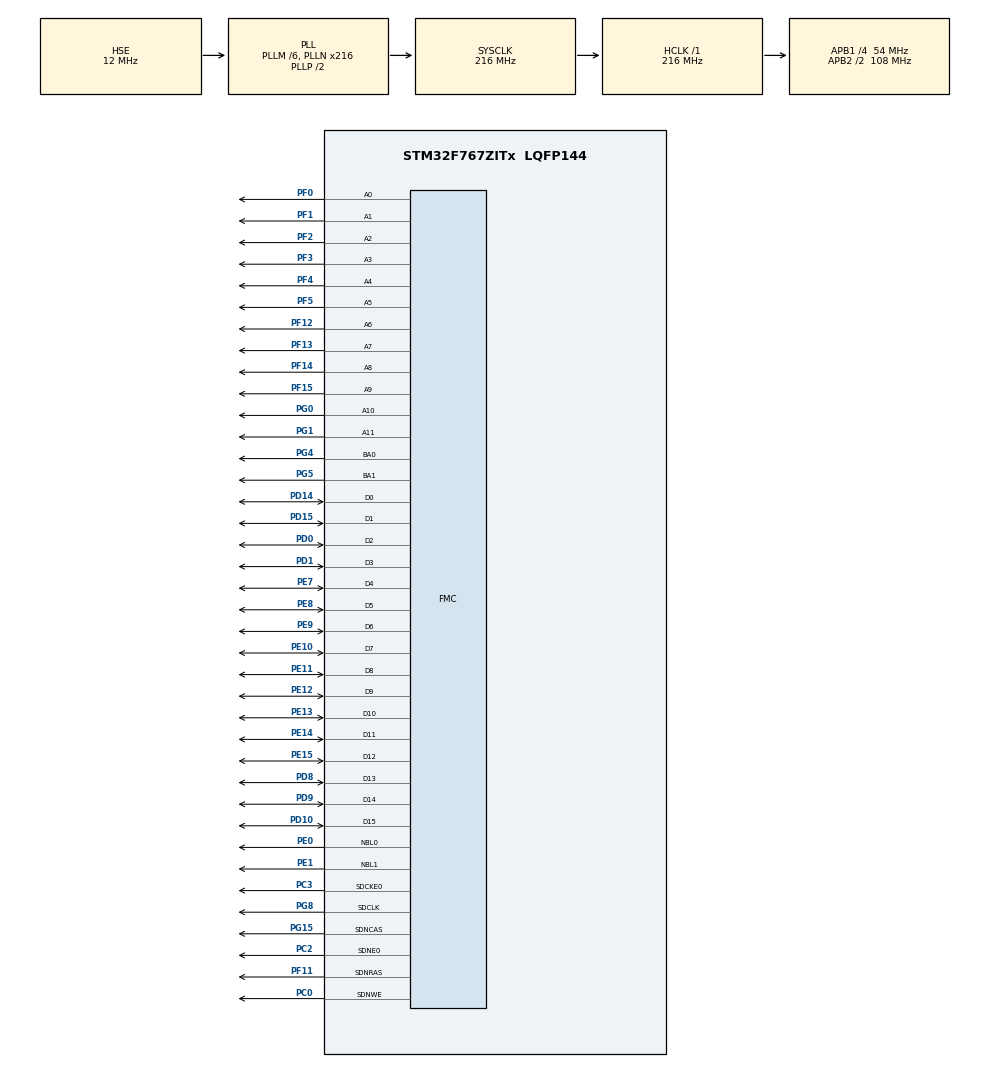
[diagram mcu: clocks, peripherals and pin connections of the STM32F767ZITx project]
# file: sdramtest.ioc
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FMC.CASLatency1=FMC_SDRAM_CAS_LATENCY_3
FMC.ColumnBitsNumber1=FMC_SDRAM_COLUMN_BITS_NUM_9
FMC.SDClockPeriod1=FMC_SDRAM_CLOCK_PERIOD_3
FMC.SDClockPeriod2=FMC_SDRAM_CLOCK_PERIOD_3
Mcu.Family=STM32F7
Mcu.Name=STM32F767ZITx
Mcu.Package=LQFP144
NVIC.PriorityGroup=NVIC_PRIORITYGROUP_4
PA13.Mode=Serial_Wire
PA13.Signal=SYS_JTMS-SWDIO
PA14.Mode=Serial_Wire
PA14.Signal=SYS_JTCK-SWCLK
PC0.Signal=FMC_SDNWE
PC14/OSC32_IN.Mode=LSE-External-Oscillator
PC14/OSC32_IN.Signal=RCC_OSC32_IN
PC15/OSC32_OUT.Mode=LSE-External-Oscillator
PC15/OSC32_OUT.Signal=RCC_OSC32_OUT
PC2.Mode=SdramChipSelect1_1
PC2.Signal=FMC_SDNE0
PC3.Mode=SdramChipSelect1_1
PC3.Signal=FMC_SDCKE0
PD0.Signal=FMC_D2_DA2
PD1.Signal=FMC_D3_DA3
PD10.Signal=FMC_D15_DA15
PD14.Signal=FMC_D0_DA0
PD15.Signal=FMC_D1_DA1
PD8.Signal=FMC_D13_DA13
PD9.Signal=FMC_D14_DA14
PE0.Signal=FMC_NBL0
PE1.Signal=FMC_NBL1
PE10.Signal=FMC_D7_DA7
PE11.Signal=FMC_D8_DA8
PE12.Signal=FMC_D9_DA9
PE13.Signal=FMC_D10_DA10
PE14.Signal=FMC_D11_DA11
PE15.Signal=FMC_D12_DA12
PE7.Signal=FMC_D4_DA4
PE8.Signal=FMC_D5_DA5
PE9.Signal=FMC_D6_DA6
PF0.Signal=FMC_A0
PF1.Signal=FMC_A1
PF11.Signal=FMC_SDNRAS
PF12.Signal=FMC_A6
PF13.Signal=FMC_A7
PF14.Signal=FMC_A8
PF15.Signal=FMC_A9
PF2.Signal=FMC_A2
PF3.Signal=FMC_A3
PF4.Signal=FMC_A4
PF5.Signal=FMC_A5
PG0.Signal=FMC_A10
PG1.Signal=FMC_A11
PG15.Signal=FMC_SDNCAS
PG4.Signal=FMC_A14_BA0
PG5.Signal=FMC_A15_BA1
PG8.Signal=FMC_SDCLK
PH0/OSC_IN.Mode=HSE-External-Oscillator
PH0/OSC_IN.Signal=RCC_OSC_IN
PH1/OSC_OUT.Mode=HSE-External-Oscillator
PH1/OSC_OUT.Signal=RCC_OSC_OUT
ProjectManager.HeapSize=0x200
ProjectManager.StackSize=0x400
ProjectManager.TargetToolchain=STM32CubeIDE
RCC.AHBFreq_Value=216000000
RCC.APB1CLKDivider=RCC_HCLK_DIV4
RCC.APB1Freq_Value=54000000
RCC.APB1TimFreq_Value=108000000
RCC.APB2CLKDivider=RCC_HCLK_DIV2
RCC.APB2Freq_Value=108000000
RCC.APB2TimFreq_Value=216000000
RCC.CortexFreq_Value=216000000
RCC.HCLKFreq_Value=216000000
RCC.HSE_VALUE=12000000
RCC.HSI_VALUE=16000000
RCC.PLLM=6
RCC.PLLN=216
RCC.PLLSourceVirtual=RCC_PLLSOURCE_HSE
RCC.SYSCLKFreq_VALUE=216000000
RCC.SYSCLKSource=RCC_SYSCLKSOURCE_PLLCLK
RCC.USBFreq_Value=216000000
RCC.VCOOutputFreq_Value=432000000
SH.FMC_A0.0=FMC_A0,12b-sda1
SH.FMC_A1.0=FMC_A1,12b-sda1
SH.FMC_A10.0=FMC_A10,12b-sda1
SH.FMC_A11.0=FMC_A11,12b-sda1
SH.FMC_A14_BA0.0=FMC_BA0,FourSdramBanks1
SH.FMC_A15_BA1.0=FMC_BA1,FourSdramBanks1
SH.FMC_A2.0=FMC_A2,12b-sda1
SH.FMC_A3.0=FMC_A3,12b-sda1
SH.FMC_A4.0=FMC_A4,12b-sda1
SH.FMC_A5.0=FMC_A5,12b-sda1
SH.FMC_A6.0=FMC_A6,12b-sda1
SH.FMC_A7.0=FMC_A7,12b-sda1
SH.FMC_A8.0=FMC_A8,12b-sda1
SH.FMC_A9.0=FMC_A9,12b-sda1
SH.FMC_D0_DA0.0=FMC_D0,sd-16b-d1
SH.FMC_D10_DA10.0=FMC_D10,sd-16b-d1
SH.FMC_D11_DA11.0=FMC_D11,sd-16b-d1
SH.FMC_D12_DA12.0=FMC_D12,sd-16b-d1
SH.FMC_D13_DA13.0=FMC_D13,sd-16b-d1
SH.FMC_D14_DA14.0=FMC_D14,sd-16b-d1
SH.FMC_D15_DA15.0=FMC_D15,sd-16b-d1
SH.FMC_D1_DA1.0=FMC_D1,sd-16b-d1
SH.FMC_D2_DA2.0=FMC_D2,sd-16b-d1
SH.FMC_D3_DA3.0=FMC_D3,sd-16b-d1
SH.FMC_D4_DA4.0=FMC_D4,sd-16b-d1
SH.FMC_D5_DA5.0=FMC_D5,sd-16b-d1
SH.FMC_D6_DA6.0=FMC_D6,sd-16b-d1
SH.FMC_D7_DA7.0=FMC_D7,sd-16b-d1
SH.FMC_D8_DA8.0=FMC_D8,sd-16b-d1
SH.FMC_D9_DA9.0=FMC_D9,sd-16b-d1
SH.FMC_NBL0.0=FMC_NBL0,Sd2ByteEnable1
SH.FMC_NBL1.0=FMC_NBL1,Sd2ByteEnable1
SH.FMC_SDCLK.0=FMC_SDCLK,12b-sda1
SH.FMC_SDNCAS.0=FMC_SDNCAS,12b-sda1
SH.FMC_SDNRAS.0=FMC_SDNRAS,12b-sda1
SH.FMC_SDNWE.0=FMC_SDNWE,12b-sda1
board=custom

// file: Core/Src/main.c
/* USER CODE BEGIN Header */
/**
  ******************************************************************************
  * @file           : main.c
  * @brief          : Main program body
  ******************************************************************************
  * @attention
  *
  * Copyright (c) 2026 STMicroelectronics.
  * All rights reserved.
  *
  * This software is licensed under terms that can be found in the LICENSE file
  * in the root directory of this software component.
  * If no LICENSE file comes with this software, it is provided AS-IS.
  *
  ******************************************************************************
  */
/* USER CODE END Header */
#include "main.h"

/* USER CODE BEGIN PD */
#define SDRAM_BANK_ADDR                 ((uint32_t)0xC0000000)
#define SDRAM_SIZE                      ((uint32_t)0x1000000)  // 16 MB

// Parameters of MT48LC8M16A2
#define SDRAM_MODEREG_BURST_LENGTH_1             ((uint16_t)0x0000)
#define SDRAM_MODEREG_BURST_LENGTH_2             ((uint16_t)0x0001)
#define SDRAM_MODEREG_BURST_LENGTH_4             ((uint16_t)0x0002)
#define SDRAM_MODEREG_BURST_LENGTH_8             ((uint16_t)0x0003)
#define SDRAM_MODEREG_BURST_TYPE_SEQUENTIAL      ((uint16_t)0x0000)
#define SDRAM_MODEREG_BURST_TYPE_INTERLEAVED     ((uint16_t)0x0008)
#define SDRAM_MODEREG_CAS_LATENCY_2              ((uint16_t)0x0020)
#define SDRAM_MODEREG_CAS_LATENCY_3              ((uint16_t)0x0030)
#define SDRAM_MODEREG_OPERATING_MODE_STANDARD    ((uint16_t)0x0000)
#define SDRAM_MODEREG_WRITEBURST_MODE_PROGRAMMED ((uint16_t)0x0000)
#define SDRAM_MODEREG_WRITEBURST_MODE_SINGLE     ((uint16_t)0x0200)

#define SDRAM_TIMEOUT                   ((uint32_t)0x1000)
/* USER CODE END PD */

SDRAM_HandleTypeDef hsdram1;

void SystemClock_Config(void);
static void MX_GPIO_Init(void);
static void MX_FMC_Init(void);
static void MPU_Config(void);
static HAL_StatusTypeDef SDRAM_Initialization_Sequence(SDRAM_HandleTypeDef *hsdram, uint32_t refresh_count);

int main(void)
{

  /* MCU Configuration--------------------------------------------------------*/

  /* Reset of all peripherals, Initializes the Flash interface and the Systick. */
  HAL_Init();

  /* Configure the system clock */
  SystemClock_Config();

  /* USER CODE BEGIN SysInit */
  //MPU_Config();
  /* USER CODE END SysInit */

  /* Initialize all configured peripherals */
  MX_GPIO_Init();
  MX_FMC_Init();
  /* USER CODE BEGIN 2 */
  uint16_t *sdram = (uint16_t*)SDRAM_BANK_ADDR;
  sdram[0] = 0x90AB/*CDEF*/;
  uint32_t u = 0;
  /* USER CODE END 2 */

  /* Infinite loop */
  while (1)
  {

    /* USER CODE BEGIN 3 */
	  HAL_Delay(1000);
      sdram[0x11] = 0xBABE;
      sdram[0x09] = 0xC0FE;
      sdram[0x0A] = 0xBEEF;

      sdram[2] = 0xAAAA;
      sdram[3] = 0xBBBB;
      sdram[4] = 0xCCCC;
      HAL_Delay(1000);
      sdram[0x10] = 0xF00D;
      HAL_Delay(1000);
      sdram[0x10] = 0xDEAD;
      sdram[0x1000] = 0xCAFE;
      sdram[0x80000] = 0xFACE;
      sdram[0x81000] = 0x404E;
  }
  /* USER CODE END 3 */
}

void SystemClock_Config(void)
{
  RCC_OscInitTypeDef RCC_OscInitStruct = {0};
  RCC_ClkInitTypeDef RCC_ClkInitStruct = {0};

  /** Configure LSE Drive Capability
  */
  HAL_PWR_EnableBkUpAccess();

  /** Configure the main internal regulator output voltage
  */
  __HAL_RCC_PWR_CLK_ENABLE();
  __HAL_PWR_VOLTAGESCALING_CONFIG(PWR_REGULATOR_VOLTAGE_SCALE1);

  /** Initializes the RCC Oscillators according to the specified parameters
  * in the RCC_OscInitTypeDef structure.
  */
  RCC_OscInitStruct.OscillatorType = RCC_OSCILLATORTYPE_HSE;
  RCC_OscInitStruct.HSEState = RCC_HSE_ON;
  RCC_OscInitStruct.PLL.PLLState = RCC_PLL_ON;
  RCC_OscInitStruct.PLL.PLLSource = RCC_PLLSOURCE_HSE;
  RCC_OscInitStruct.PLL.PLLM = 6;
  RCC_OscInitStruct.PLL.PLLN = 216;
  RCC_OscInitStruct.PLL.PLLP = RCC_PLLP_DIV2;
  RCC_OscInitStruct.PLL.PLLQ = 2;
  RCC_OscInitStruct.PLL.PLLR = 2;
  if (HAL_RCC_OscConfig(&RCC_OscInitStruct) != HAL_OK)
  {
    Error_Handler();
  }

  /** Activate the Over-Drive mode
  */
  if (HAL_PWREx_EnableOverDrive() != HAL_OK)
  {
    Error_Handler();
  }

  /** Initializes the CPU, AHB and APB buses clocks
  */
  RCC_ClkInitStruct.ClockType = RCC_CLOCKTYPE_HCLK|RCC_CLOCKTYPE_SYSCLK
                              |RCC_CLOCKTYPE_PCLK1|RCC_CLOCKTYPE_PCLK2;
  RCC_ClkInitStruct.SYSCLKSource = RCC_SYSCLKSOURCE_PLLCLK;
  RCC_ClkInitStruct.AHBCLKDivider = RCC_SYSCLK_DIV1;
  RCC_ClkInitStruct.APB1CLKDivider = RCC_HCLK_DIV4;
  RCC_ClkInitStruct.APB2CLKDivider = RCC_HCLK_DIV2;

  if (HAL_RCC_ClockConfig(&RCC_ClkInitStruct, FLASH_LATENCY_7) != HAL_OK)
  {
    Error_Handler();
  }
}

/* FMC initialization function */
static void MX_FMC_Init(void)
{

  FMC_SDRAM_TimingTypeDef SdramTiming = {0};

  /** Perform the SDRAM1 memory initialization sequence
  */
  hsdram1.Instance = FMC_SDRAM_DEVICE;
  /* hsdram1.Init */
  hsdram1.Init.SDBank = FMC_SDRAM_BANK1;
  hsdram1.Init.ColumnBitsNumber = FMC_SDRAM_COLUMN_BITS_NUM_9;
  hsdram1.Init.RowBitsNumber = FMC_SDRAM_ROW_BITS_NUM_12;
  hsdram1.Init.MemoryDataWidth = FMC_SDRAM_MEM_BUS_WIDTH_16;
  hsdram1.Init.InternalBankNumber = FMC_SDRAM_INTERN_BANKS_NUM_4;
  hsdram1.Init.CASLatency = FMC_SDRAM_CAS_LATENCY_3;
  hsdram1.Init.WriteProtection = FMC_SDRAM_WRITE_PROTECTION_DISABLE;
  hsdram1.Init.SDClockPeriod = FMC_SDRAM_CLOCK_PERIOD_3;
  hsdram1.Init.ReadBurst = FMC_SDRAM_RBURST_DISABLE;
  hsdram1.Init.ReadPipeDelay = FMC_SDRAM_RPIPE_DELAY_0;
  /* SdramTiming */
  SdramTiming.LoadToActiveDelay    = 2;    // tMRD
  SdramTiming.ExitSelfRefreshDelay = 5;    // tXSR
  SdramTiming.SelfRefreshTime      = 4;    // tRAS
  SdramTiming.RowCycleDelay        = 5;    // tRC
  SdramTiming.WriteRecoveryTime    = 2;    // tWR
  SdramTiming.RPDelay              = 2;    // tRP
  SdramTiming.RCDDelay             = 2;    // tRCD

  if (HAL_SDRAM_Init(&hsdram1, &SdramTiming) != HAL_OK)
  {
    Error_Handler( );
  }

  /* USER CODE BEGIN FMC_Init 2 */
  uint32_t refresh_count = 1105;

  HAL_StatusTypeDef status = SDRAM_Initialization_Sequence(&hsdram1, refresh_count);
  if(status != HAL_OK) {
      return status;
  }
  /* USER CODE END FMC_Init 2 */
}

static void MX_GPIO_Init(void)
{

  /* GPIO Ports Clock Enable */
  __HAL_RCC_GPIOC_CLK_ENABLE();
  __HAL_RCC_GPIOF_CLK_ENABLE();
  __HAL_RCC_GPIOH_CLK_ENABLE();
  __HAL_RCC_GPIOG_CLK_ENABLE();
  __HAL_RCC_GPIOE_CLK_ENABLE();
  __HAL_RCC_GPIOD_CLK_ENABLE();
  __HAL_RCC_GPIOA_CLK_ENABLE();

}

/* USER CODE BEGIN 4 */
static void MPU_Config(void)
{
    MPU_Region_InitTypeDef MPU_InitStruct;

    /* Disable the MPU */
    HAL_MPU_Disable();

    /* Configure the MPU as Strongly ordered for not defined regions */
    MPU_InitStruct.Enable = MPU_REGION_ENABLE;
    MPU_InitStruct.BaseAddress = 0x00;
    MPU_InitStruct.Size = MPU_REGION_SIZE_4GB;
    MPU_InitStruct.AccessPermission = MPU_REGION_NO_ACCESS;
    MPU_InitStruct.IsBufferable = MPU_ACCESS_NOT_BUFFERABLE;
    MPU_InitStruct.IsCacheable = MPU_ACCESS_NOT_CACHEABLE;
    MPU_InitStruct.IsShareable = MPU_ACCESS_SHAREABLE;
    MPU_InitStruct.Number = MPU_REGION_NUMBER0;
    MPU_InitStruct.TypeExtField = MPU_TEX_LEVEL0;
    MPU_InitStruct.SubRegionDisable = 0xC7; //0x87;
    MPU_InitStruct.DisableExec = MPU_INSTRUCTION_ACCESS_DISABLE;

    HAL_MPU_ConfigRegion(&MPU_InitStruct);

    /* Configure the MPU attributes as WB for SDRAM */
    MPU_InitStruct.Enable           = MPU_REGION_ENABLE;
    MPU_InitStruct.BaseAddress      = SDRAM_BANK_ADDR;      // 0xC0000000
    MPU_InitStruct.Size             = MPU_REGION_SIZE_16MB;
    MPU_InitStruct.AccessPermission = MPU_REGION_FULL_ACCESS;
    MPU_InitStruct.IsBufferable     = MPU_ACCESS_BUFFERABLE;
    MPU_InitStruct.IsCacheable      = MPU_ACCESS_NOT_CACHEABLE;
    MPU_InitStruct.IsShareable      = MPU_ACCESS_NOT_SHAREABLE;   // ← Strongly Ordered
    MPU_InitStruct.Number           = MPU_REGION_NUMBER1;
    MPU_InitStruct.TypeExtField     = MPU_TEX_LEVEL2;//MPU_TEX_LEVEL0;         // TEX=0, C=0, B=0, S=1 → Strongly Ordered
    MPU_InitStruct.SubRegionDisable = 0x00;
    MPU_InitStruct.DisableExec      = MPU_INSTRUCTION_ACCESS_DISABLE; // XN

    //MPU_InitStruct.IsBufferable = ((gotCfg & IsBufferable) >> BitPos(IsBufferable));
    //MPU_InitStruct.IsCacheable =  ((gotCfg & IsCacheable) >> BitPos(IsCacheable));
    //MPU_InitStruct.IsShareable =  ((gotCfg & IsShareable) >> BitPos(IsShareable));
    ////MPU_InitStruct.Number =  ((gotCfg & RegionNumber) >> BitPos(BIT(4)));
    ////MPU_InitStruct.TypeExtField =  (u8)((gotCfg & TexLevelX) >> BitPos((BIT(7))));
    //MPU_InitStruct.TypeExtField =  (u8)((gotCfg & TexLevelX) >> BitPos((BIT(4))));
    //MPU_InitStruct.DisableExec =  ((gotCfg & DisExec) >> BitPos(DisExec));

    HAL_MPU_ConfigRegion(&MPU_InitStruct);

    /* Configure the MPU attributes FMC control registers */
    MPU_InitStruct.Enable = MPU_REGION_ENABLE;
    MPU_InitStruct.BaseAddress = 0xA0000000;
    MPU_InitStruct.Size = MPU_REGION_SIZE_8KB;
    MPU_InitStruct.AccessPermission = MPU_REGION_FULL_ACCESS;
    MPU_InitStruct.IsBufferable = MPU_ACCESS_BUFFERABLE;
    MPU_InitStruct.IsCacheable = MPU_ACCESS_NOT_CACHEABLE;
    MPU_InitStruct.IsShareable = MPU_ACCESS_SHAREABLE;
    MPU_InitStruct.Number = MPU_REGION_NUMBER2;
    MPU_InitStruct.TypeExtField = MPU_TEX_LEVEL1;
    MPU_InitStruct.SubRegionDisable = 0x0;
    MPU_InitStruct.DisableExec = MPU_INSTRUCTION_ACCESS_DISABLE;

    HAL_MPU_ConfigRegion(&MPU_InitStruct);

    /* Enable the MPU */
    HAL_MPU_Enable(MPU_PRIVILEGED_DEFAULT);
}

static HAL_StatusTypeDef SDRAM_Initialization_Sequence(SDRAM_HandleTypeDef *hsdram, uint32_t refresh_count) {
    FMC_SDRAM_CommandTypeDef Command;
    HAL_StatusTypeDef status;

    // --- STEP 1: Clock Configuration Enable ---
    Command.CommandMode = FMC_SDRAM_CMD_CLK_ENABLE;
    Command.CommandTarget = FMC_SDRAM_CMD_TARGET_BANK1;
    Command.AutoRefreshNumber = 1;
    Command.ModeRegisterDefinition = 0;

    status = HAL_SDRAM_SendCommand(hsdram, &Command, SDRAM_TIMEOUT);
    if(status != HAL_OK) return status;

    HAL_Delay(1);

    // --- STEP 2: Precharge All ---
    Command.CommandMode = FMC_SDRAM_CMD_PALL;
    status = HAL_SDRAM_SendCommand(hsdram, &Command, SDRAM_TIMEOUT);
    if(status != HAL_OK) return status;

    // --- STEP 3: 8 cycles Auto Refresh ---
    Command.CommandMode = FMC_SDRAM_CMD_AUTOREFRESH_MODE;
    Command.AutoRefreshNumber = 8; // JEDEC requires minimum 8 cycles

    status = HAL_SDRAM_SendCommand(hsdram, &Command, SDRAM_TIMEOUT);
    if(status != HAL_OK) return status;

    // --- STEP 4: Load Mode Register ---
    Command.CommandMode = FMC_SDRAM_CMD_LOAD_MODE;
    Command.AutoRefreshNumber = 1;

    // Seetting Mode Register 100 MHz:
    // - Burst Length = 1
    // - Burst Type = Sequential
    // - CAS Latency = 2
    // - Operating Mode = Standard
    // - Write Burst Mode = Single
    uint32_t mode_reg = (uint32_t)SDRAM_MODEREG_BURST_LENGTH_1 |
                       SDRAM_MODEREG_BURST_TYPE_SEQUENTIAL |
                       SDRAM_MODEREG_CAS_LATENCY_2 |
                       SDRAM_MODEREG_OPERATING_MODE_STANDARD |
                       SDRAM_MODEREG_WRITEBURST_MODE_SINGLE;

    Command.ModeRegisterDefinition = mode_reg;

    status = HAL_SDRAM_SendCommand(hsdram, &Command, SDRAM_TIMEOUT);
    if(status != HAL_OK) return status;

    HAL_Delay(1); //?

    // --- STEP 5: Seetting Refresh Timer ---
     HAL_SDRAM_ProgramRefreshRate(hsdram, refresh_count);

    return HAL_OK;
}
/* USER CODE END 4 */

void Error_Handler(void)
{
  __disable_irq();
  while (1)
  {
  }
}
